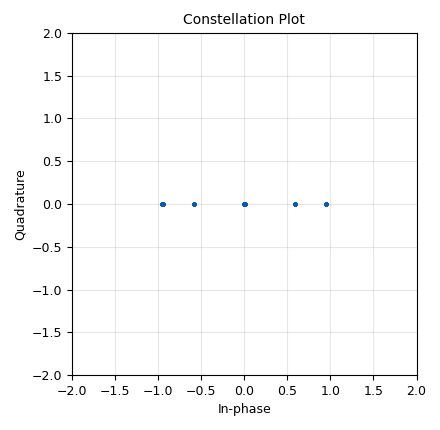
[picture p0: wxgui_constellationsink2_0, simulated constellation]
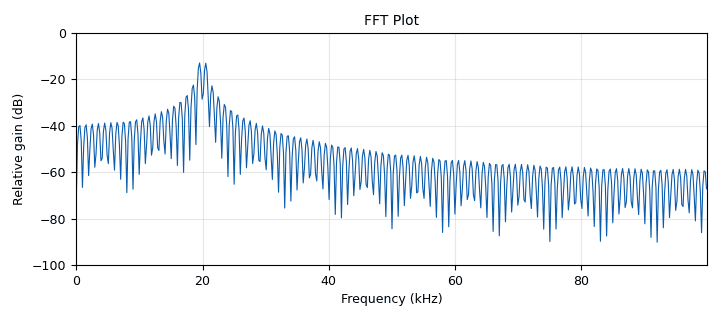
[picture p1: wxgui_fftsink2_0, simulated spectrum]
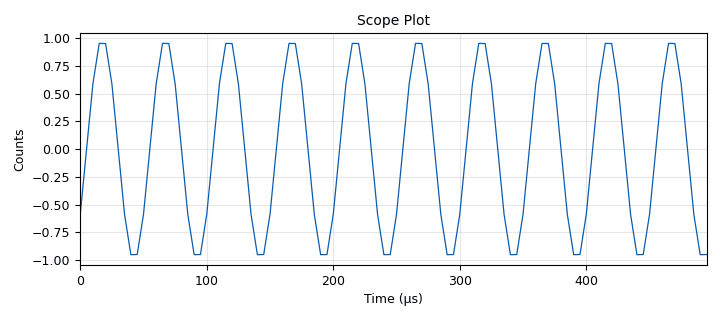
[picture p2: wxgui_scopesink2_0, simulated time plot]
<?xml version='1.0' encoding='utf-8'?>
<?grc format='1' created='3.7.11'?>
<flow_graph>
<block>
<key>options</key>
<param><key>id</key><value>top_block</value></param>
<param><key>author</key><value>AKADEMIKA Lab Solution</value></param>
<param><key>category</key><value>Custom</value></param>
<param><key>generate_options</key><value>wx_gui</value></param>
<param><key>title</key><value>BPSK Modulation</value></param>
</block>
<block>
<key>variable</key>
<param><key>id</key><value>samp_rate</value></param>
<param><key>value</key><value>200000</value></param>
</block>
<block>
<key>analog_sig_source_x</key>
<param><key>id</key><value>analog_sig_source_x_0</value></param>
<param><key>amp</key><value>1</value></param>
<param><key>freq</key><value>20000</value></param>
<param><key>offset</key><value>0</value></param>
<param><key>type</key><value>float</value></param>
<param><key>samp_rate</key><value>samp_rate</value></param>
<param><key>waveform</key><value>analog.GR_SIN_WAVE</value></param>
</block>
<block>
<key>analog_sig_source_x</key>
<param><key>id</key><value>analog_sig_source_x_1</value></param>
<param><key>amp</key><value>2</value></param>
<param><key>freq</key><value>500</value></param>
<param><key>offset</key><value>-1</value></param>
<param><key>type</key><value>float</value></param>
<param><key>samp_rate</key><value>samp_rate</value></param>
<param><key>waveform</key><value>analog.GR_SQR_WAVE</value></param>
</block>
<block>
<key>blocks_float_to_complex</key>
<param><key>id</key><value>blocks_float_to_complex_0</value></param>
</block>
<block>
<key>blocks_multiply_xx</key>
<param><key>id</key><value>blocks_multiply_xx_0</value></param>
<param><key>type</key><value>float</value></param>
</block>
<block>
<key>blocks_throttle</key>
<param><key>id</key><value>blocks_throttle_0</value></param>
<param><key>samples_per_second</key><value>samp_rate</value></param>
<param><key>type</key><value>float</value></param>
</block>
<block>
<key>blocks_throttle</key>
<param><key>id</key><value>blocks_throttle_0_0</value></param>
<param><key>samples_per_second</key><value>samp_rate</value></param>
<param><key>type</key><value>float</value></param>
</block>
<block>
<key>wxgui_constellationsink2</key>
<param><key>id</key><value>wxgui_constellationsink2_0</value></param>
<param><key>const_size</key><value>2048</value></param>
<param><key>frame_rate</key><value>2</value></param>
<param><key>gain_mu</key><value>0.005</value></param>
<param><key>loop_bw</key><value>6.28/100.0</value></param>
<param><key>M</key><value>2</value></param>
<param><key>fmax</key><value>0.06</value></param>
<param><key>mu</key><value>0.5</value></param>
<param><key>omega_limit</key><value>0.005</value></param>
<param><key>samp_rate</key><value>samp_rate</value></param>
<param><key>symbol_rate</key><value>samp_rate/4.</value></param>
<param><key>theta</key><value>0</value></param>
<param><key>title</key><value>Constellation Plot</value></param>
</block>
<block>
<key>wxgui_fftsink2</key>
<param><key>id</key><value>wxgui_fftsink2_0</value></param>
<param><key>avg_alpha</key><value>0</value></param>
<param><key>average</key><value>False</value></param>
<param><key>baseband_freq</key><value>0</value></param>
<param><key>fft_size</key><value>1024</value></param>
<param><key>freqvar</key><value>None</value></param>
<param><key>peak_hold</key><value>False</value></param>
<param><key>ref_level</key><value>0</value></param>
<param><key>ref_scale</key><value>2.0</value></param>
<param><key>fft_rate</key><value>15</value></param>
<param><key>samp_rate</key><value>samp_rate</value></param>
<param><key>title</key><value>FFT Plot</value></param>
<param><key>type</key><value>float</value></param>
<param><key>win</key><value>None</value></param>
<param><key>y_divs</key><value>10</value></param>
<param><key>y_per_div</key><value>10</value></param>
</block>
<block>
<key>wxgui_scopesink2</key>
<param><key>id</key><value>wxgui_scopesink2_0</value></param>
<param><key>ac_couple</key><value>False</value></param>
<param><key>num_inputs</key><value>1</value></param>
<param><key>samp_rate</key><value>samp_rate</value></param>
<param><key>t_scale</key><value>0</value></param>
<param><key>title</key><value>Scope Plot</value></param>
<param><key>trig_mode</key><value>wxgui.TRIG_MODE_AUTO</value></param>
<param><key>type</key><value>float</value></param>
<param><key>v_offset</key><value>0</value></param>
<param><key>v_scale</key><value>0</value></param>
<param><key>xy_mode</key><value>False</value></param>
<param><key>y_axis_label</key><value>Counts</value></param>
</block>
<connection><source_block_id>analog_sig_source_x_0</source_block_id><sink_block_id>blocks_throttle_0</sink_block_id><source_key>0</source_key><sink_key>0</sink_key></connection>
<connection><source_block_id>analog_sig_source_x_1</source_block_id><sink_block_id>blocks_throttle_0_0</sink_block_id><source_key>0</source_key><sink_key>0</sink_key></connection>
<connection><source_block_id>blocks_float_to_complex_0</source_block_id><sink_block_id>wxgui_constellationsink2_0</sink_block_id><source_key>0</source_key><sink_key>0</sink_key></connection>
<connection><source_block_id>blocks_multiply_xx_0</source_block_id><sink_block_id>blocks_float_to_complex_0</sink_block_id><source_key>0</source_key><sink_key>0</sink_key></connection>
<connection><source_block_id>blocks_multiply_xx_0</source_block_id><sink_block_id>wxgui_fftsink2_0</sink_block_id><source_key>0</source_key><sink_key>0</sink_key></connection>
<connection><source_block_id>blocks_multiply_xx_0</source_block_id><sink_block_id>wxgui_scopesink2_0</sink_block_id><source_key>0</source_key><sink_key>0</sink_key></connection>
<connection><source_block_id>blocks_throttle_0</source_block_id><sink_block_id>blocks_multiply_xx_0</sink_block_id><source_key>0</source_key><sink_key>0</sink_key></connection>
<connection><source_block_id>blocks_throttle_0_0</source_block_id><sink_block_id>blocks_multiply_xx_0</sink_block_id><source_key>0</source_key><sink_key>1</sink_key></connection>
</flow_graph>
